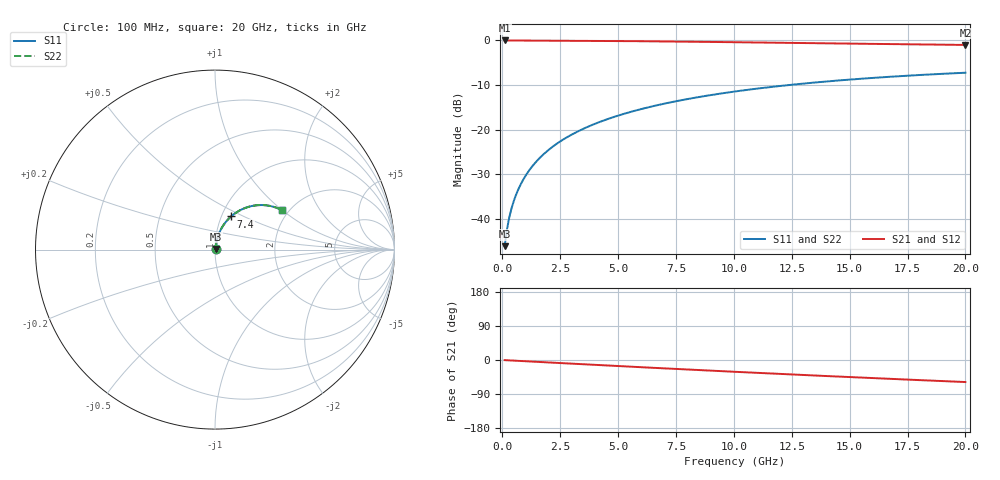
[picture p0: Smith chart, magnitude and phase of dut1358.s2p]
! Touchstone file exported from HFSS 2026.1.0
!  File:  C:/ffzhzh/LocalFiles/Ansys_Project_Files/temp_train_TMRDL_1358_1783165646_43440.aedt
!  Generated:  07:48:48 PM Jul  4, 2026
!  Design:  TMRDL
!  Project:  temp_train_TMRDL_1358_1783165646_43440
! Variables:
!  h_bsmrdl = 2um
!  h_ox = 20um
!  h_rdl = 5um
!  h_sub = 80um
!  h_tmrdl = 3.78um
!  h_tsv = 80um
!  h_via = 3um
!  l_bsmrdl = 300um
!  l_sub = 1327.01um
!  l_tmrdl = 927.01um
!  m_sub = 200um
!  pitch = 49.2um
!  r_tsv = 6um
!  s_tmrdl = 10um
!  w_bsmrdl = 18um
!  w_sub = 500um
!  w_tmrdl = 25.05um
!  x_tsv_center1 = 939.535um
!  x_tsv_center2 = 1257.535um
!  x_tsv_center3 = 2209.595um
!  x_tsv_center4 = 2527.595um
!  x_tsv_center5 = 3479.655um
!  x_tsv_center6 = 3797.655um
# GHz S MA R 50.000000
! Terminal data exported
! Port[1] = TM_RDL1_1_T1
! Port[2] = TM_RDL1_1_T2
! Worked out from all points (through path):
!   200 points, 100 MHz to 20 GHz, reference 50 ohm
!   highest |S21| = -0.03 dB at 100 MHz (marker M1); lowest = -1.0 dB at 20 GHz (marker M2)
!   group delay of S21, straight-line fit = 8.08 ps
!   lowest |S11| = -46.0 dB at 100 MHz (marker M3), VSWR 1.01, Z = 50.4 + j0.335 ohm
!   |S11| at or under -10 dB: start of sweep to 12.38 GHz
!   |S22| runs from -46.0 to -7.3 dB; largest |S21 - S12| = 3e-15
!   S11 on the Smith chart (normalised r, x): 100 MHz: 1.01, +0.01; 7.4 GHz: 1.11, +0.43; 20 GHz: 1.85, +1.00
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0.1  0.004986 41.9  0.9963 -0.3  0.9963 -0.3  0.004986 41.9
! Gamma 0 0 0 0
! Port Impedance 50 0 50 0
0.2  0.00763 58.1  0.996 -0.7  0.996 -0.7  0.00763 58.1
0.3  0.01043 65.2  0.9958 -1.0  0.9958 -1.0  0.01043 65.2
0.4  0.01324 69.3  0.9955 -1.3  0.9955 -1.3  0.01324 69.3
0.5  0.01606 72.0  0.9954 -1.6  0.9954 -1.6  0.01606 72.0
0.6  0.0189 73.9  0.9952 -2.0  0.9952 -2.0  0.0189 73.9
0.8  0.02463 76.3  0.9949 -2.6  0.9949 -2.6  0.02463 76.3
1.1  0.03332 77.9  0.9945 -3.6  0.9945 -3.6  0.03332 77.9
1.3  0.03914 78.4  0.9942 -4.2  0.9942 -4.2  0.03914 78.4
1.6  0.04787 78.6  0.9937 -5.2  0.9937 -5.2  0.04787 78.6
2.1  0.0624 78.2  0.9926 -6.8  0.9926 -6.8  0.06241 78.2
2.7  0.07971 77.1  0.991 -8.7  0.991 -8.7  0.07971 77.1
3.5  0.1024 75.1  0.9883 -11.2  0.9883 -11.2  0.1025 75.1
4.2  0.122 73.2  0.9855 -13.5  0.9855 -13.5  0.122 73.2
5  0.1438 71.0  0.9819 -16.0  0.9819 -16.0  0.1438 71.0
6.8  0.1908 65.8  0.9725 -21.5  0.9725 -21.5  0.1908 65.8
7.4  0.2058 64.0  0.969 -23.3  0.969 -23.3  0.2058 64.0
8.7  0.2371 60.3  0.9611 -27.2  0.9611 -27.2  0.2371 60.3
10.1  0.2688 56.4  0.9521 -31.3  0.9521 -31.3  0.2688 56.4
13.4  0.3355 47.3  0.9297 -40.7  0.9297 -40.7  0.3355 47.3
16.7  0.3905 38.6  0.9077 -49.6  0.9077 -49.6  0.3905 38.6
20  0.4339 30.3  0.8878 -58.2  0.8878 -58.2  0.4339 30.2
